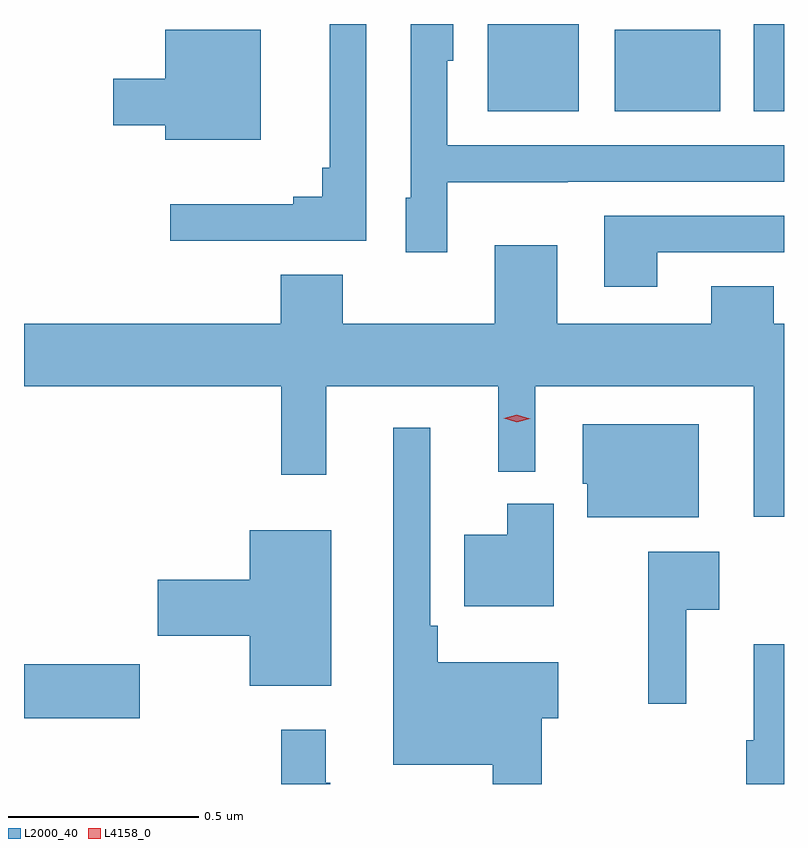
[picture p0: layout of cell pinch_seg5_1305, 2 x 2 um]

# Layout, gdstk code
import gdstk
lib = gdstk.Library(unit=1e-6, precision=1e-09)
def R(c, l, rs):  # rectangles x0, y0, x1, y1
    for r in rs: c.add(gdstk.rectangle(r[:2], r[2:], *l))
def P(c, l, *ps):  # polygons
    for p in ps: c.add(gdstk.Polygon(p, *l))
L2000_40 = (2000, 40)
L4158_0 = (4158, 0)

pinch_seg5_1305 = lib.new_cell('pinch_seg5_1305')
R(pinch_seg5_1305, L2000_40, [(481.112,834.574,481.417,834.716), (482.333,836.171,482.572,836.401), (482.666,836.171,482.944,836.386), (483.033,836.172,483.112,836.401)])
P(pinch_seg5_1305, L2000_40, [(482.226,835.985),(482.543,835.985),(482.543,835.986),(483.112,835.986),(483.112,836.082),(482.226,836.082),(482.226,836.304),(482.242,836.304),(482.242,836.401),(482.13,836.401),(482.13,835.944),(482.117,835.944),(482.117,835.8),(482.226,835.8)],
  [(482.013,836.401),(481.916,836.401),(481.916,836.023),(481.897,836.023),(481.897,835.946),(481.82,835.946),(481.82,835.927),(481.497,835.927),(481.497,835.83),(482.013,835.83)],
  [(481.735,836.386),(481.484,836.386),(481.484,836.257),(481.347,836.257),(481.347,836.135),(481.484,836.135),(481.484,836.096),(481.735,836.096)],
  [(482.779,835.8),(483.112,835.8),(483.112,835.896),(482.639,835.896),(482.639,835.71),(482.779,835.71)],
  [(483.112,835.612),(483.085,835.612),(483.085,835.711),(482.921,835.711),(482.921,835.612),(482.515,835.612),(482.515,835.819),(482.351,835.819),(482.351,835.612),(481.951,835.612),(481.951,835.741),(481.787,835.741),(481.787,835.612),(481.112,835.612),(481.112,835.448),(481.789,835.448),(481.789,835.215),(481.907,835.215),(481.907,835.448),(482.36,835.448),(482.36,835.223),(482.457,835.223),(482.457,835.448),(483.032,835.448),(483.032,835.104),(483.112,835.104)],
  [(482.887,835.348),(482.582,835.348),(482.582,835.191),(482.594,835.191),(482.594,835.103),(482.887,835.103)],
  [(482.474,834.574),(482.518,834.574),(482.518,834.721),(482.201,834.721),(482.201,834.817),(482.181,834.817),(482.181,835.339),(482.084,835.339),(482.084,834.452),(482.346,834.452),(482.346,834.401),(482.474,834.401)],
  [(482.506,835.138),(482.384,835.138),(482.384,835.057),(482.27,835.057),(482.27,834.869),(482.506,834.869)],
  [(481.921,835.069),(481.706,835.069),(481.706,834.938),(481.464,834.938),(481.464,834.791),(481.706,834.791),(481.706,834.659),(481.921,834.659)],
  [(482.855,834.86),(482.941,834.86),(482.941,835.012),(482.755,835.012),(482.755,834.612),(482.855,834.612)],
  [(483.112,834.769),(483.032,834.769),(483.032,834.516),(483.013,834.516),(483.013,834.401),(483.112,834.401)],
  [(481.918,834.404),(481.906,834.404),(481.906,834.544),(481.789,834.544),(481.789,834.401),(481.918,834.401)])
P(pinch_seg5_1305, L4158_0, [(482.409,835.353),(482.374,835.363),(482.374,835.363),(482.374,835.363),(482.409,835.373),(482.444,835.362),(482.444,835.362),(482.444,835.362)])

lib.write_gds('pinch_seg5_1305.gds')
